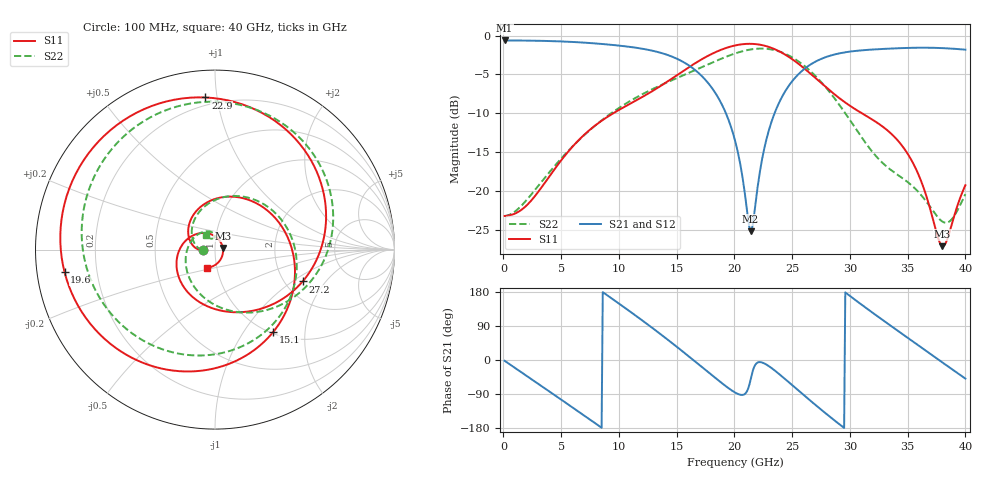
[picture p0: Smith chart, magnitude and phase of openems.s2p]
! B_s8_L1L3_stub_d200: L1→L3, through via (stub to L8), drill Ø0.2
! stackup: 8-layer 1.6 mm FR-4 (generic)
! ports: 1, 2
! openEMS 0.37.0, staircase, fine mesh (dfine 0.0175 mm), 1205820 cells
# Hz S RI R 50
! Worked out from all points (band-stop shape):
!   400 points, 100 MHz to 40 GHz, reference 50 ohm
!   highest |S21| = -0.62 dB at 100 MHz (marker M1); lowest = -25.2 dB at 21.4 GHz (marker M2)
!   |S21| within 3 dB of the highest: start of sweep to 15.83 GHz; 26.69 GHz to end of sweep
!   lowest |S11| = -27.1 dB at 38 GHz (marker M3), VSWR 1.09, Z = 54.5 + j1.07 ohm
!   |S11| at or under -10 dB: start of sweep to 9.494 GHz; 31.05 GHz to end of sweep
!   |S22| runs from -24.1 to -1.7 dB; largest |S21 - S12| = 0.0038
!   S11 on the Smith chart (normalised r, x): 100 MHz: 0.87, -0.00; 15.1 GHz: 1.03, -1.38; 19.6 GHz: 0.08, -0.07; 22.9 GHz: 0.15, +0.93; 27.2 GHz: 2.49, -1.21; 40 GHz: 0.90, -0.18
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1e8  -0.0692 -0.000142  0.9301 -0.0338  0.9301 -0.0339  -0.0691 -0.000128
1.7e9  -0.0772 -0.00205  0.7572 -0.5387  0.7572 -0.5387  -0.0827 0.0027
3.6e9  -0.1129 0.0126  0.2369 -0.8935  0.2368 -0.8935  -0.1162 0.0383
5.1e9  -0.1459 0.0688  -0.2629 -0.8782  -0.2631 -0.878  -0.1296 0.1023
6.8e9  -0.1258 0.1845  -0.7173 -0.5487  -0.7171 -0.5484  -0.0945 0.2012
9.6e9  0.1311 0.2916  -0.8033 0.331  -0.8029 0.3304  0.1354 0.2979
1.16e10  0.3566 0.1504  -0.3365 0.762  -0.3374 0.7614  0.3651 0.1723
1.34e10  0.4456 -0.1283  0.2295 0.7488  0.2284 0.7499  0.4538 -0.1277
1.51e10  0.3252 -0.4578  0.5937 0.3811  0.5949 0.3827  0.2755 -0.4605
1.75e10  -0.2992 -0.6625  0.4643 -0.2302  0.465 -0.232  -0.3787 -0.5184
1.96e10  -0.8378 -0.1269  0.0625 -0.2654  0.0613 -0.2655  -0.7427 0.0774
2.01e10  -0.8618 0.083  0.0124 -0.2047  0.0116 -0.2044  -0.7233 0.2629
2.14e10  -0.6492 0.6023  0.034 -0.0434  0.0338 -0.0433  -0.4564 0.6745
2.29e10  -0.0534 0.8475  0.2267 -0.0587  0.2258 -0.0582  0.0915 0.8156
2.48e10  0.552 0.4656  0.2356 -0.4256  0.2373 -0.4239  0.6118 0.4138
2.67e10  0.5538 -0.081  -0.2312 -0.6177  -0.2293 -0.6206  0.5639 -0.1361
2.72e10  0.4882 -0.1774  -0.3788 -0.5781  -0.3782 -0.5816  0.4789 -0.2331
3.01e10  0.0603 -0.3448  -0.7699 0.1812  -0.7727 0.1831  -0.0524 -0.2744
3.34e10  -0.212 -0.1136  -0.0475 0.8232  -0.0465 0.8239  -0.1303 0.05
3.6e10  -0.0849 0.0911  0.6678 0.503  0.6689 0.5035  -0.0165 0.0961
3.8e10  0.0432 0.00979  0.826 -0.0906  0.8274 -0.0916  -0.00796 0.0633
4e10  -0.0419 -0.1007  0.5314 -0.6144  0.531 -0.6156  -0.0507 0.081
